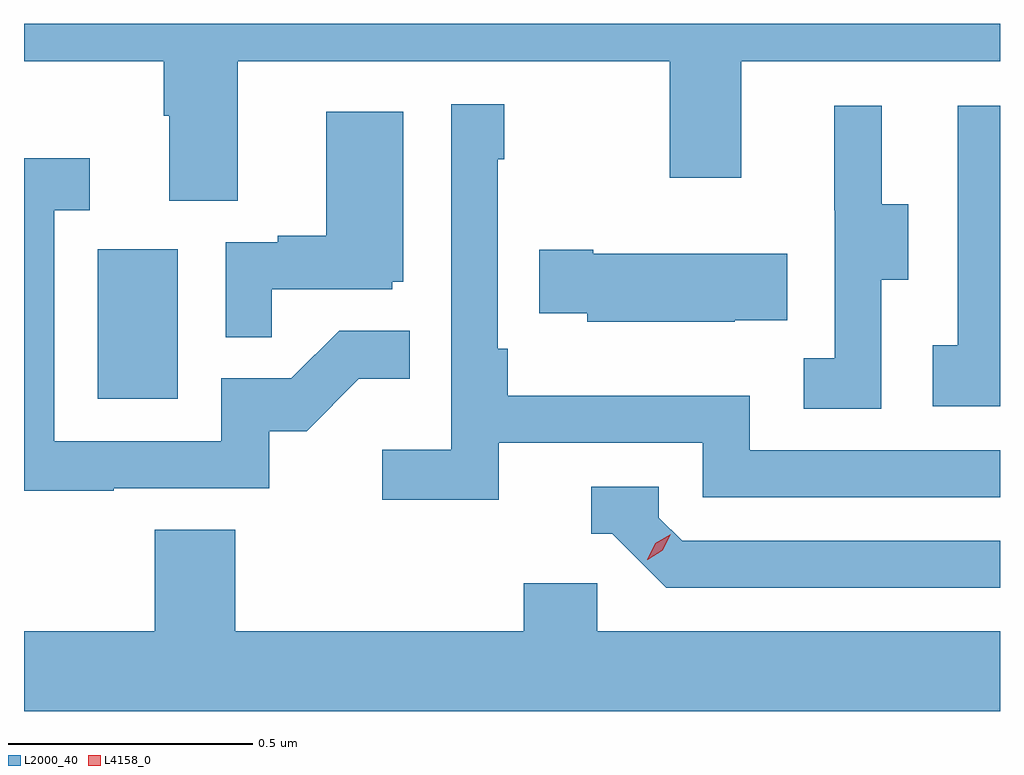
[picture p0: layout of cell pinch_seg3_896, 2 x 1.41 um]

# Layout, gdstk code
import gdstk
lib = gdstk.Library(unit=1e-6, precision=1e-09)
def R(c, l, rs):  # rectangles x0, y0, x1, y1
    for r in rs: c.add(gdstk.rectangle(r[:2], r[2:], *l))
def P(c, l, *ps):  # polygons
    for p in ps: c.add(gdstk.Polygon(p, *l))
L2000_40 = (2000, 40)
L4158_0 = (4158, 0)

pinch_seg3_896 = lib.new_cell('pinch_seg3_896')
R(pinch_seg3_896, L2000_40, [(875.498,706.884,875.662,707.191)])
P(pinch_seg3_896, L2000_40, [(875.785,707.576),(876.67,707.576),(876.67,707.337),(876.817,707.337),(876.817,707.576),(877.347,707.576),(877.347,707.653),(875.347,707.653),(875.347,707.576),(875.633,707.576),(875.633,707.464),(875.645,707.464),(875.645,707.29),(875.785,707.29)],
  [(876.32,706.794),(876.738,706.794),(876.738,706.683),(877.347,706.683),(877.347,706.779),(876.834,706.779),(876.834,706.891),(876.338,706.891),(876.338,706.987),(876.318,706.987),(876.318,707.375),(876.331,707.375),(876.331,707.488),(876.222,707.488),(876.222,706.78),(876.081,706.78),(876.081,706.678),(876.32,706.678)],
  [(877.104,707.128),(877.159,707.128),(877.159,707.283),(877.105,707.283),(877.105,707.485),(877.007,707.485),(877.007,707.271),(877.008,707.271),(877.008,706.967),(876.945,706.967),(876.945,706.864),(877.104,706.864)],
  [(877.347,707.485),(877.26,707.485),(877.26,706.994),(877.209,706.994),(877.209,706.869),(877.347,706.869)],
  [(875.855,707.109),(876.102,707.109),(876.102,707.124),(876.124,707.124),(876.124,707.473),(875.966,707.473),(875.966,707.218),(875.867,707.218),(875.867,707.205),(875.76,707.205),(875.76,707.011),(875.855,707.011)],
  [(875.531,706.701),(875.85,706.701),(875.85,706.818),(875.926,706.818),(876.033,706.925),(876.137,706.925),(876.137,707.024),(875.993,707.024),(875.895,706.926),(875.751,706.926),(875.751,706.797),(875.409,706.797),(875.409,707.271),(875.482,707.271),(875.482,707.377),(875.347,707.377),(875.347,706.696),(875.531,706.696)],
  [(876.803,707.045),(876.911,707.045),(876.911,707.182),(876.514,707.182),(876.514,707.19),(876.403,707.19),(876.403,707.06),(876.501,707.06),(876.501,707.042),(876.803,707.042)],
  [(877.347,706.593),(876.696,706.593),(876.648,706.641),(876.648,706.704),(876.509,706.704),(876.509,706.608),(876.552,706.608),(876.663,706.497),(877.347,706.497)],
  [(877.347,706.408),(876.522,706.408),(876.522,706.506),(876.371,706.506),(876.371,706.408),(875.78,706.408),(875.78,706.616),(875.615,706.616),(875.615,706.408),(875.347,706.408),(875.347,706.244),(877.347,706.244)])
P(pinch_seg3_896, L4158_0, [(876.624,706.555),(876.624,706.556),(876.641,706.588),(876.672,706.607),(876.672,706.607),(876.672,706.607),(876.656,706.574),(876.625,706.555)])

lib.write_gds('pinch_seg3_896.gds')
